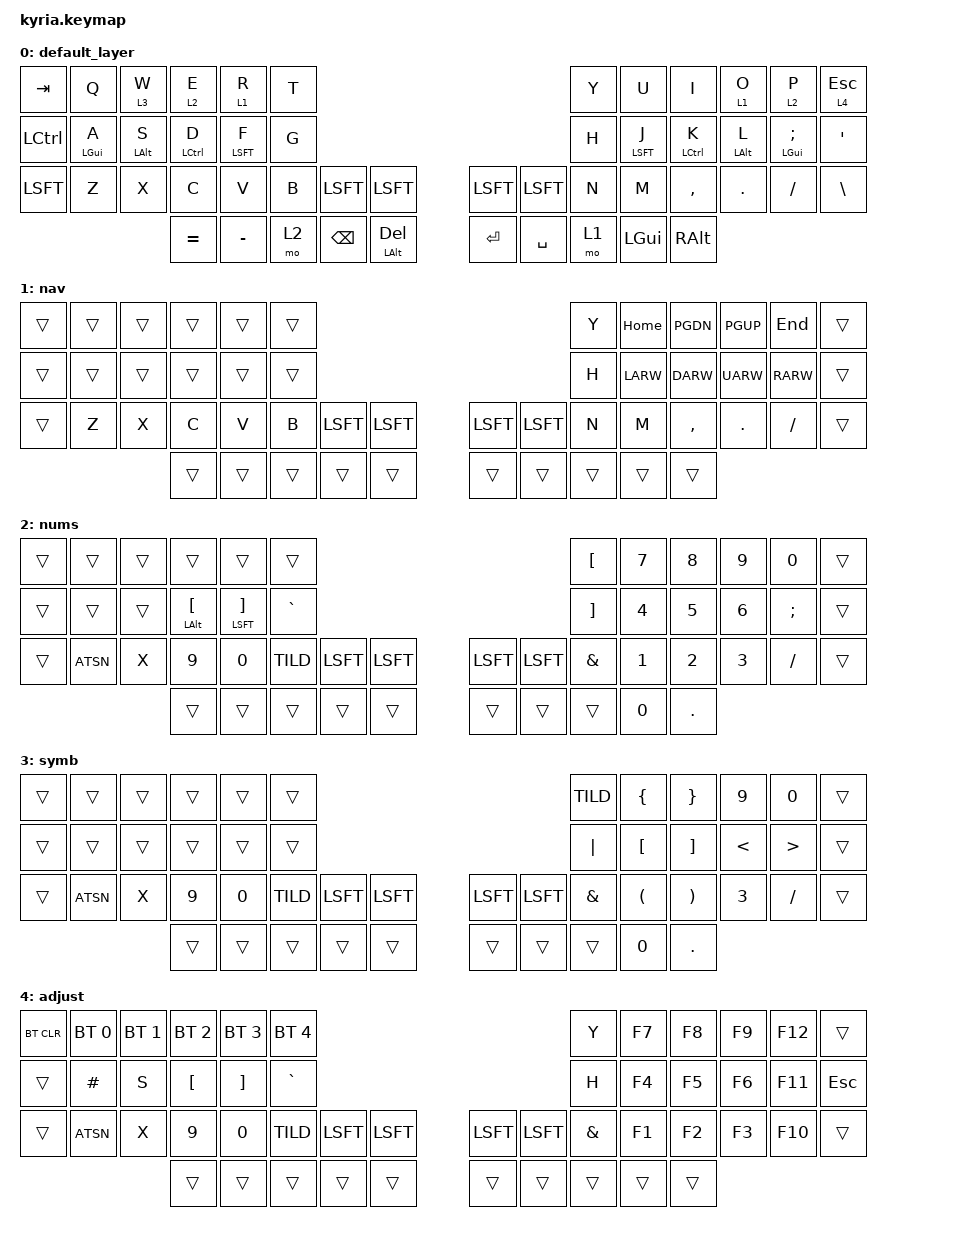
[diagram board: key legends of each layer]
/*
 * Copyright (c) 2020 The ZMK Contributors
 *
 * SPDX-License-Identifier: MIT
 */

#include <behaviors.dtsi>
#include <dt-bindings/zmk/keys.h>
#include <dt-bindings/zmk/bt.h>

&lt {
    tapping_term_ms = <150>;
};

/ {
    behaviors {
        hm: homerow_mods {
            compatible = "zmk,behavior-hold-tap";
            label = "HOMEROW_MODS";
            #binding-cells = <2>;
            tapping_term_ms = <150>;
            flavor = "tap-preferred";
            bindings = <&kp>, <&kp>;
        };
    };
	keymap {
		compatible = "zmk,keymap";

		default_layer {
// ---------------------------------------------------------------------------------------------------------------------------------
// |  ESC  |  Q  |  W  |  E   |  R   |  T   |                                          |  Y   |  U    |  I    |  O   |   P   |   \  |
// | LCTRL |  A  |  S  |  D   |  F   |  G   |                                          |  H   |  J    |  K    |  L   |   ;   |   '  |
// | SHIFT |  Z  |  X  |  C   |  V   |  B   | L SHIFT | L SHIFT |  | L SHIFT | L SHIFT |  N   |  M    |  ,    |  .   |   /   |   \  |
//                     | EQL  |  -  | SYMB  |  BKSP  |LALT(DEL)|  |   RET   |  SPACE  | NAVTAB  | BSPC  | R-ALT |
			bindings = <  
	&kp TAB   &kp Q      &lt 3 W    &lt 2 E &lt 1 R &kp T                                          &kp Y &kp U  &kp I    &lt 1 O   &lt 2 P  &lt 4 ESC
	&kp LCTL  &hm LGUI A &hm LALT S &hm LCTL D &hm LSFT F &kp G                        &kp H &hm LSFT J  &hm LCTL K    &hm LALT L   &hm LGUI SCLN &kp QUOT
	&kp LSFT  &kp Z &kp X &kp C &kp V &kp B &kp LSFT &kp LSFT            &kp LSFT &kp LSFT &kp N &kp M  &kp CMMA &kp DOT &kp FSLH &kp BSLH
	                &kp EQL &kp MINUS &mo 2 &kp BKSP &mt LALT DEL        &kp RET  &kp SPC  &mo 1 &kp LGUI &kp RALT
			>;
		};
		nav {
// ---------------------------------------------------------------------------------------------------------------------------------
// |  ESC  |  Q  |  W  |  E   |  R   |  T   |                                          |  Y   |  U    |  I    |  O   |   P   |   \  |
// |  LCTRL  |  A  |  S  |  D   |  F   |  G   |                                          |  H   |  J    |  K    |  L   |   ;   |   '  |
// | SHIFT |  Z  |  X  |  C   |  V   |  B   | L SHIFT | L SHIFT |  | L SHIFT | L SHIFT |  N   |  M    |  ,    |  .   |   /   | CTRL |
//                     | GUI  | DEL  | RET  |  SPACE  |   ESC   |  |   RET   |  SPACE  | TAB  | BSPC  | R-ALT |
			bindings = <
	&trans &trans &trans &trans &trans &trans                                            &kp Y &kp HOME  &kp PGDN &kp PGUP  &kp END  &trans
	&trans &trans &trans &trans &trans &trans                                            &kp H &kp LARW  &kp DARW &kp UARW  &kp RARW &trans
	&trans &kp Z &kp X &kp C &kp V &kp B &kp LSFT &kp LSFT        &kp LSFT &kp LSFT &kp N &kp M     &kp CMMA &kp DOT   &kp FSLH &trans
	             &trans &trans &trans &trans &trans            &trans  &trans  &trans &trans &trans
			>;
		};

		nums {
// ---------------------------------------------------------------------------------------------------------------------------------
// |  ESC  |  Q  |  W  |  E   |  R   |  T   |                                          |  Y   |  U    |  I    |  O   |   P   |   \  |
// |  TAB  |  A  |  S  |  D   |  F   |  G   |                                          |  H   |  J    |  K    |  L   |   ;   |   '  |
// | SHIFT |  Z  |  X  |  C   |  V   |  B   | L SHIFT | L SHIFT |  | L SHIFT | L SHIFT |  N   |  M    |  ,    |  .   |   /   | CTRL |
//                     | GUI  | DEL  | RET  |  SPACE  |   ESC   |  |   RET   |  SPACE  | TAB  | BSPC  | R-ALT |
			bindings = <
	&trans &trans &trans &trans &trans &trans                                              &kp LBKT    &kp NUM_7  &kp NUM_8  &kp NUM_9   &kp NUM_0    &trans
	&trans &trans &trans &hm LALT LBKT &hm LSFT RBKT &kp GRAV                                              &kp RBKT    &kp NUM_4  &kp NUM_5  &kp NUM_6   &kp SCLN   &trans
	&trans &kp ATSN &kp X &kp NUM_9 &kp NUM_0 &kp TILD &kp LSFT &kp LSFT        &kp LSFT &kp LSFT &kp AMPS &kp NUM_1  &kp NUM_2  &kp NUM_3   &kp FSLH &trans
	             &trans &trans &trans &trans &trans                             &trans  &trans    &trans &kp NUM_0 &kp DOT
			>;
		};
		
		symb {
// ---------------------------------------------------------------------------------------------------------------------------------
// |  ESC  |  Q  |  W  |  E   |  R   |  T   |                                          |  Y   |  U    |  I    |  O   |   P   |   \  |
// |  TAB  |  A  |  S  |  D   |  F   |  G   |                                          |  H   |  J    |  K    |  L   |   ;   |   '  |
// | SHIFT |  Z  |  X  |  C   |  V   |  B   | L SHIFT | L SHIFT |  | L SHIFT | L SHIFT |  N   |  M    |  ,    |  .   |   /   | CTRL |
//                     | GUI  | DEL  | RET  |  SPACE  |   ESC   |  |   RET   |  SPACE  | TAB  | BSPC  | R-ALT |
			bindings = <
	&trans &trans &trans &trans &trans &trans                                            &kp TILD    &kp LBRC  &kp RBRC  &kp NUM_9   &kp NUM_0    &trans
	&trans &trans &trans  &trans   &trans   &trans                                       &kp PIPE    &kp LBKT  &kp RBKT  &kp LT      &kp GT   &trans
	&trans &kp ATSN &kp X &kp NUM_9 &kp NUM_0 &kp TILD &kp LSFT &kp LSFT        &kp LSFT &kp LSFT &kp AMPS &kp LPRN  &kp RPRN  &kp NUM_3   &kp FSLH &trans
	             &trans &trans &trans &trans &trans                             &trans  &trans    &trans &kp NUM_0 &kp DOT
			>;
		};
		
		adjust {
			bindings = <
        &bt BT_CLR &bt BT_SEL 0 &bt BT_SEL 1 &bt BT_SEL 2 &bt BT_SEL 3 &bt BT_SEL 4                 &kp Y    &kp F7  &kp F8  &kp F9   &kp F12   &trans
	&trans &kp HASH &kp S &kp LBKT &kp RBKT &kp GRAV                                            &kp H    &kp F4  &kp F5  &kp F6   &kp F11   &kp ESC
	&trans &kp ATSN &kp X &kp NUM_9 &kp NUM_0 &kp TILD &kp LSFT &kp LSFT        &kp LSFT &kp LSFT &kp AMPS &kp F1  &kp F2  &kp F3   &kp F10 &trans
	             &trans &trans &trans &trans &trans            &trans  &trans  &trans &trans &trans	
			>;
                };
	};
};
